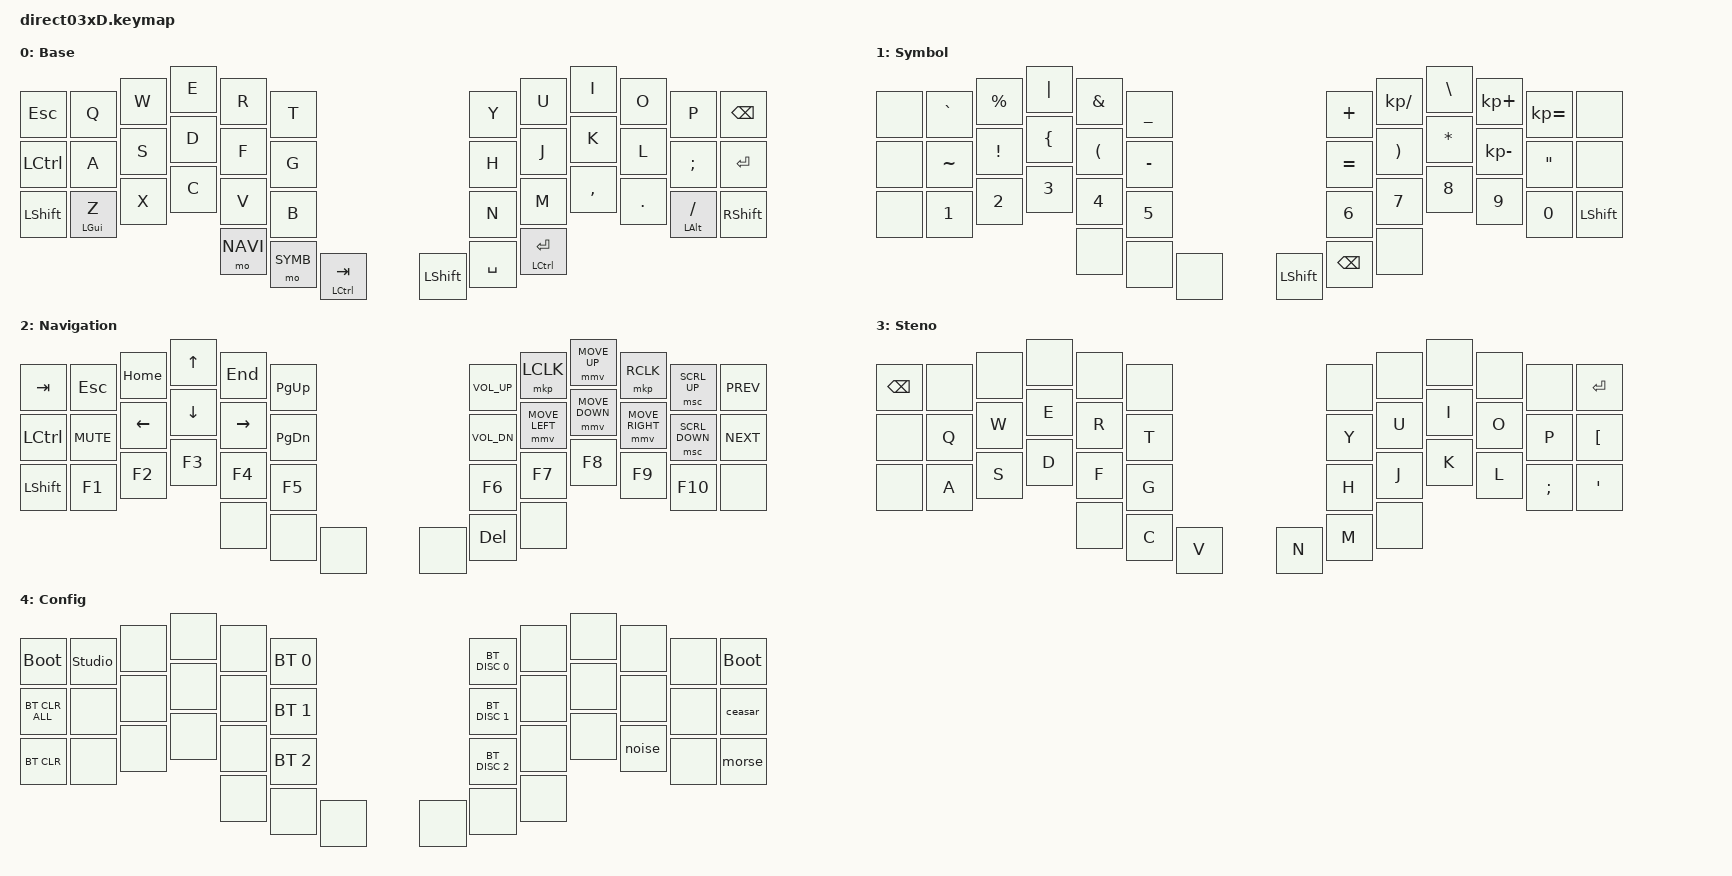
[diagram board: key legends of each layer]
#include <behaviors.dtsi>
#include <dt-bindings/zmk/keys.h>
#include <dt-bindings/zmk/bt.h>
#include <dt-bindings/zmk/pointing.h>
#include <dt-bindings/zmk/behaviors.h>

#include <behaviors/morse.dtsi> // include for the morse reference
#include <behaviors/ceasar.dtsi> // include for the ceasar reference
#include <behaviors/noise.dtsi> // include for the ceasar reference

#define BASE 0
#define SYMB 1
#define NAVI 2
#define STENO 3
#define CONF 4

/ {  
    combos {
        compatible = "zmk,combos";
        
        combo_activate_layer_conf {
            timeout-ms = <150>;
            key-positions = <18 20>;
            bindings = <&mo CONF>;
        };
        
        combo_activate_layer_steno {
            timeout-ms = <150>;
            key-positions = <0  20>;
            bindings = <&tog STENO>;
        };
        
    };
    
    behaviors {
        mt: mod_tap { //used in thumb cluster
            compatible = "zmk,behavior-hold-tap";
            #binding-cells = <2>;
            bindings = <&kp>, <&kp>;
            tapping-term-ms = <220>;
        };
        
        mt_b: mod_tap_balanced { //used in alpha cluster
            compatible = "zmk,behavior-hold-tap";
            #binding-cells = <2>;
	    flavor = "balanced";
            bindings = <&kp>, <&kp>;
            tapping-term-ms = <220>;
        };
    };

    keymap {
        compatible = "zmk,keymap";


        default_layer { // Layer 0
            display-name = "Base";
            bindings = <
                &kp ESC    &kp Q    &kp W    &kp E    &kp R    &kp T          
                &kp LCTRL    &kp A    &kp S    &kp D    &kp F    &kp G      
                &kp LSHIFT    &mt_b LGUI Z    &kp X    &kp C        &kp V      &kp B  
                &mo NAVI     &mo SYMB      &mt LCTRL TAB  
                
                &kp Y    &kp U    &kp I    &kp O    &kp P    &kp BACKSPACE
                &kp H    &kp J    &kp K    &kp L    &kp SEMICOLON    &kp ENTER
                &kp N    &kp M    &kp COMMA    &kp DOT    &mt_b LALT  SLASH    &kp RSHIFT 
                &kp LSHFT    &kp SPACE     &mt LCTRL RET 
                
            >;
        };

        symb_layer { //layer 1
            display-name = "Symbol";
            bindings = <
                &none    &kp GRAVE   &kp PERCENT    &kp PIPE         &kp AMPERSAND  &kp UNDERSCORE
                &none    &kp TILDE    &kp EXCLAMATION          &kp LEFT_BRACE    &kp LEFT_PARENTHESIS    &kp MINUS
                &none    &kp N1    &kp N2    &kp N3    &kp N4    &kp N5                 
                &none     &none            &none 
                
                &kp PLUS    &kp KP_SLASH   &kp BACKSLASH    &kp KP_PLUS    &kp KP_EQUAL    &none
                &kp EQUAL    &kp RIGHT_PARENTHESIS    &kp ASTERISK      &kp KP_MINUS            &kp DOUBLE_QUOTES    &none
                &kp N6    &kp N7    &kp N8    &kp N9    &kp N0    &kp LSHFT
                &kp LSHFT    &kp BACKSPACE    &none
            >;
        };  

        navi_layer { //layer 2
            display-name = "Navigation";
            bindings = <
                &kp TAB    &kp ESCAPE      &kp HOME     &kp UP          &kp END      &kp PG_UP   
                &kp LCTRL    &kp K_MUTE      &kp LEFT          &kp DOWN          &kp RIGHT          &kp PG_DN   
                &kp LSHIFT    &kp F1    &kp F2    &kp F3    &kp F4    &kp F5
                &none     &none         &none
                
                &kp C_VOL_UP    &mkp LCLK    &mmv MOVE_UP    &mkp RCLK    &msc SCRL_UP    &kp C_PREV
                &kp C_VOL_DN    &mmv MOVE_LEFT    &mmv MOVE_DOWN    &mmv MOVE_RIGHT    &msc SCRL_DOWN    &kp C_NEXT
                &kp F6    &kp F7    &kp F8    &kp F9    &kp F10    &none
                &none    &kp DELETE    &none
            >;
        };
        
        steno_layer { // Layer 3
            display-name = "Steno";
            bindings = <
                &kp BACKSPACE    &none   &none    &none        &none     &none
                &none    &kp Q    &kp W    &kp E    &kp R    &kp T          
                &none    &kp A    &kp S    &kp D    &kp F    &kp G      
                &none     &kp C      &kp V  
                
                &none    &none   &none    &none        &none     &kp ENTER
                &kp Y    &kp U    &kp I    &kp O    &kp P    &kp LBKT
                &kp H    &kp J    &kp K    &kp L    &kp SEMICOLON    &kp SQT
                &kp N    &kp M      &none
               
            >;
        };
        
        config_layer { //layer 4
            display-name = "Config";
            bindings = <
                &bootloader    &studio_unlock    &none    &none    &none    &bt BT_SEL 0     
                &bt BT_CLR_ALL    &none    &none    &none    &none    &bt BT_SEL 1     
                &bt BT_CLR    &none    &none    &none    &none   &bt BT_SEL 2       
                &none   &none    &none 
                
                &bt BT_DISC 0          &none             &none    &none    &none    &bootloader
                &bt BT_DISC 1    &none    &none    &none    &none    &ceasar   
                &bt BT_DISC 2          &none    &none    &noise    &none    &morse   
                &none   &none    &none
            >;
        }; 
        
        extra_1 {
            status = "reserved";
        }; 
        
        extra_2 {
            status = "reserved";
        };
    };
 };
